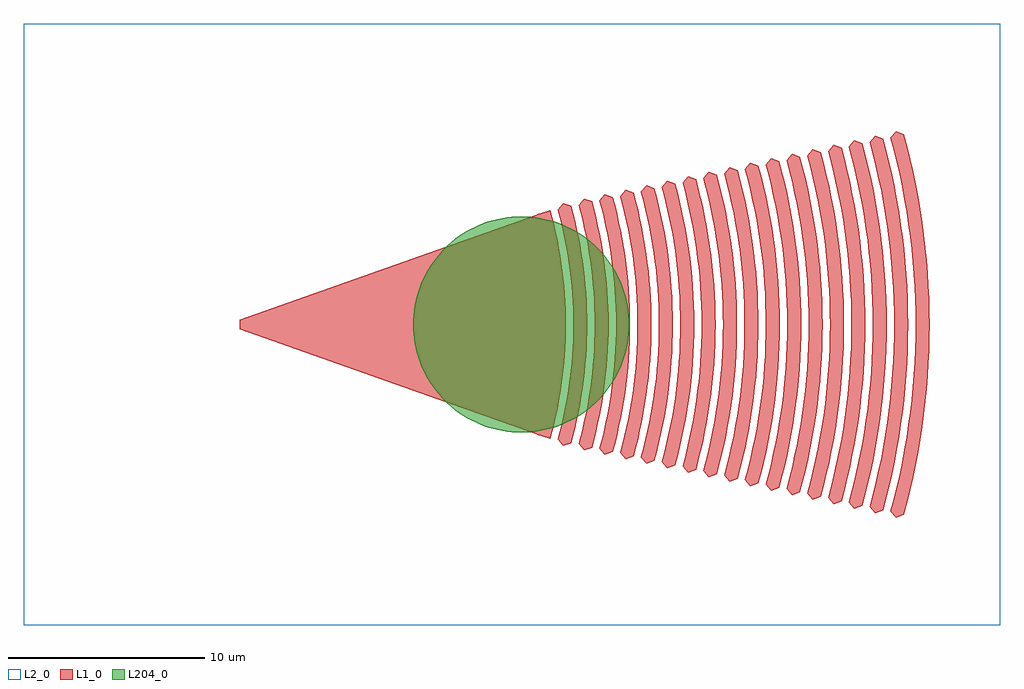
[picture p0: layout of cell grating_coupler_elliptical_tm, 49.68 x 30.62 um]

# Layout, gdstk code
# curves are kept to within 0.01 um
import gdstk
lib = gdstk.Library(unit=1e-6, precision=1e-09)
def R(c, l, rs):  # rectangles x0, y0, x1, y1
    for r in rs: c.add(gdstk.rectangle(r[:2], r[2:], *l))
def P(c, l, *ps):  # polygons
    for p in ps: c.add(gdstk.Polygon(p, *l))
L1_0 = (1, 0)
L2_0 = (2, 0)
L204_0 = (204, 0)

circle_layer204_0_radius = lib.new_cell('circle_layer204_0_radius5p5')
P(circle_layer204_0_radius, L204_0, [(5.5,0),(5.495,0.24),(5.453,0.718),(5.37,1.19),(5.245,1.654),(5.081,2.105),(4.879,2.54),(4.639,2.955),(4.505,3.155),(4.213,3.535),(3.889,3.889),(3.535,4.213),(3.155,4.505),(2.955,4.639),(2.54,4.879),(2.105,5.081),(1.654,5.245),(1.19,5.37),(0.718,5.453),(0.24,5.495),(0,5.5),(-0.24,5.495),(-0.718,5.453),(-1.19,5.37),(-1.654,5.245),(-2.105,5.081),(-2.54,4.879),(-2.955,4.639),(-3.155,4.505),(-3.535,4.213),(-3.889,3.889),(-4.213,3.535),(-4.505,3.155),(-4.639,2.955),(-4.879,2.54),(-5.081,2.105),(-5.245,1.654),(-5.37,1.19),(-5.453,0.718),(-5.495,0.24),(-5.5,0),(-5.495,-0.24),(-5.453,-0.718),(-5.37,-1.19),(-5.245,-1.654),(-5.081,-2.105),(-4.879,-2.54),(-4.639,-2.955),(-4.505,-3.155),(-4.213,-3.535),(-3.889,-3.889),(-3.535,-4.213),(-3.155,-4.505),(-2.955,-4.639),(-2.54,-4.879),(-2.105,-5.081),(-1.654,-5.245),(-1.19,-5.37),(-0.718,-5.453),(-0.24,-5.495),(0,-5.5),(0.24,-5.495),(0.718,-5.453),(1.19,-5.37),(1.654,-5.245),(2.105,-5.081),(2.54,-4.879),(2.955,-4.639),(3.155,-4.505),(3.535,-4.213),(3.889,-3.889),(4.213,-3.535),(4.505,-3.155),(4.639,-2.955),(4.879,-2.54),(5.081,-2.105),(5.245,-1.654),(5.37,-1.19),(5.453,-0.718),(5.495,-0.24)])

grating_coupler_elliptic = lib.new_cell('grating_coupler_elliptical_tm')
P(grating_coupler_elliptic, L1_0, [(27.455,-6.17),(27.173,-5.852),(27.456,-4.698),(27.61,-3.924),(27.736,-3.145),(27.834,-2.362),(27.904,-1.576),(27.946,-0.789),(27.96,0),(27.946,0.789),(27.904,1.576),(27.834,2.362),(27.736,3.145),(27.61,3.924),(27.456,4.698),(27.173,5.852),(27.455,6.17),(27.857,6.032),(28.057,5.246),(28.23,4.449),(28.436,3.245),(28.577,2.032),(28.635,1.22),(28.668,0),(28.635,-1.22),(28.577,-2.032),(28.436,-3.245),(28.23,-4.449),(28.057,-5.246),(27.857,-6.032)],
  [(28.513,-6.398),(28.231,-6.08),(28.435,-5.282),(28.609,-4.48),(28.754,-3.673),(28.871,-2.861),(28.958,-2.046),(29.017,-1.229),(29.049,0),(29.017,1.229),(28.958,2.046),(28.871,2.861),(28.754,3.673),(28.609,4.48),(28.435,5.282),(28.231,6.08),(28.513,6.398),(28.915,6.261),(29.123,5.444),(29.302,4.618),(29.516,3.368),(29.621,2.53),(29.723,1.267),(29.757,0),(29.723,-1.267),(29.621,-2.53),(29.516,-3.368),(29.302,-4.618),(29.123,-5.444),(28.915,-6.261)],
  [(29.571,-6.627),(29.29,-6.309),(29.501,-5.481),(29.681,-4.649),(29.832,-3.811),(29.953,-2.969),(30.078,-1.699),(30.123,-0.85),(30.138,0),(30.123,0.85),(30.078,1.699),(29.953,2.969),(29.832,3.811),(29.681,4.649),(29.501,5.481),(29.29,6.309),(29.571,6.627),(29.973,6.489),(30.189,5.643),(30.375,4.786),(30.596,3.491),(30.748,2.186),(30.83,0.875),(30.846,0),(30.83,-0.875),(30.748,-2.186),(30.596,-3.491),(30.375,-4.786),(30.189,-5.643),(29.973,-6.489)],
  [(30.629,-6.855),(30.348,-6.537),(30.566,-5.679),(30.754,-4.817),(30.977,-3.514),(31.086,-2.639),(31.165,-1.761),(31.212,-0.881),(31.227,0),(31.212,0.881),(31.165,1.761),(31.086,2.639),(30.977,3.514),(30.754,4.817),(30.566,5.679),(30.348,6.537),(30.629,6.855),(31.031,6.718),(31.255,5.841),(31.532,4.509),(31.737,3.165),(31.834,2.263),(31.898,1.359),(31.935,0),(31.898,-1.359),(31.834,-2.263),(31.737,-3.165),(31.532,-4.509),(31.255,-5.841),(31.031,-6.718)],
  [(31.688,-7.084),(31.406,-6.766),(31.632,-5.878),(31.826,-4.986),(31.988,-4.087),(32.118,-3.184),(32.215,-2.277),(32.28,-1.367),(32.316,0),(32.28,1.367),(32.215,2.277),(32.118,3.184),(31.988,4.087),(31.826,4.986),(31.632,5.878),(31.406,6.766),(31.688,7.084),(32.09,6.946),(32.321,6.04),(32.607,4.663),(32.757,3.737),(32.919,2.34),(32.986,1.405),(33.024,0),(33.007,-0.937),(32.919,-2.34),(32.757,-3.737),(32.607,-4.663),(32.321,-6.04),(32.09,-6.946)],
  [(32.746,-7.313),(32.464,-6.994),(32.698,-6.076),(32.899,-5.154),(33.066,-4.226),(33.2,-3.292),(33.3,-2.354),(33.368,-1.414),(33.405,0),(33.368,1.414),(33.3,2.354),(33.2,3.292),(33.066,4.226),(32.899,5.154),(32.698,6.076),(32.464,6.994),(32.746,7.313),(33.148,7.175),(33.386,6.239),(33.682,4.816),(33.837,3.86),(34.005,2.417),(34.074,1.451),(34.113,0),(34.074,-1.451),(34.005,-2.417),(33.837,-3.86),(33.682,-4.816),(33.386,-6.239),(33.148,-7.175)],
  [(33.804,-7.541),(33.523,-7.223),(33.764,-6.275),(33.971,-5.323),(34.144,-4.364),(34.282,-3.4),(34.425,-1.946),(34.477,-0.974),(34.494,0),(34.477,0.974),(34.425,1.946),(34.282,3.4),(34.144,4.364),(33.971,5.323),(33.764,6.275),(33.523,7.223),(33.804,7.541),(34.206,7.403),(34.563,5.95),(34.757,4.969),(34.984,3.488),(35.09,2.494),(35.184,0.999),(35.202,0),(35.184,-0.999),(35.09,-2.494),(34.984,-3.488),(34.757,-4.969),(34.563,-5.95),(34.206,-7.403)],
  [(34.863,-7.77),(34.581,-7.451),(34.83,-6.474),(35.043,-5.491),(35.222,-4.502),(35.364,-3.507),(35.512,-2.007),(35.566,-1.004),(35.583,0),(35.566,1.004),(35.512,2.007),(35.364,3.507),(35.222,4.502),(35.043,5.491),(34.83,6.474),(34.581,7.451),(34.863,7.77),(35.265,7.632),(35.632,6.133),(35.833,5.123),(36.066,3.595),(36.176,2.571),(36.272,1.03),(36.291,0),(36.272,-1.03),(36.176,-2.571),(36.066,-3.595),(35.833,-5.123),(35.632,-6.133),(35.265,-7.632)],
  [(35.921,-7.998),(35.639,-7.68),(35.896,-6.672),(36.116,-5.66),(36.378,-4.128),(36.507,-3.1),(36.599,-2.069),(36.654,-1.035),(36.672,0),(36.654,1.035),(36.599,2.069),(36.507,3.1),(36.378,4.128),(36.116,5.66),(35.896,6.672),(35.639,7.68),(35.921,7.998),(36.323,7.861),(36.584,6.835),(36.908,5.276),(37.148,3.703),(37.261,2.648),(37.361,1.06),(37.38,0),(37.361,-1.06),(37.261,-2.648),(37.148,-3.703),(36.908,-5.276),(36.584,-6.835),(36.323,-7.861)],
  [(36.979,-8.227),(36.698,-7.909),(37.08,-6.351),(37.287,-5.304),(37.458,-4.251),(37.591,-3.193),(37.685,-2.131),(37.742,-1.066),(37.761,0),(37.742,1.066),(37.685,2.131),(37.591,3.193),(37.458,4.251),(37.287,5.304),(37.08,6.351),(36.698,7.909),(36.979,8.227),(37.381,8.089),(37.771,6.501),(37.983,5.429),(38.158,4.351),(38.294,3.268),(38.347,2.725),(38.425,1.636),(38.469,0),(38.425,-1.636),(38.347,-2.725),(38.294,-3.268),(38.158,-4.351),(37.983,-5.429),(37.771,-6.501),(37.381,-8.089)],
  [(38.037,-8.455),(37.756,-8.137),(38.028,-7.07),(38.261,-5.997),(38.538,-4.374),(38.675,-3.285),(38.772,-2.192),(38.831,-1.097),(38.85,0),(38.831,1.097),(38.772,2.192),(38.675,3.285),(38.538,4.374),(38.261,5.997),(38.028,7.07),(37.756,8.137),(38.037,8.455),(38.439,8.318),(38.716,7.232),(39.059,5.583),(39.313,3.918),(39.433,2.802),(39.513,1.683),(39.558,0),(39.513,-1.683),(39.433,-2.802),(39.313,-3.918),(39.059,-5.583),(38.716,-7.232),(38.439,-8.318)],
  [(39.096,-8.684),(38.814,-8.366),(39.094,-7.268),(39.333,-6.165),(39.438,-5.611),(39.618,-4.497),(39.759,-3.377),(39.859,-2.254),(39.919,-1.128),(39.939,0),(39.919,1.128),(39.859,2.254),(39.759,3.377),(39.618,4.497),(39.438,5.611),(39.333,6.165),(39.094,7.268),(38.814,8.366),(39.096,8.684),(39.498,8.546),(39.782,7.431),(40.027,6.303),(40.134,5.736),(40.231,5.167),(40.395,4.026),(40.518,2.879),(40.6,1.729),(40.626,1.153),(40.647,0),(40.626,-1.153),(40.6,-1.729),(40.518,-2.879),(40.395,-4.026),(40.318,-4.597),(40.134,-5.736),(40.027,-6.303),(39.782,-7.431),(39.498,-8.546)],
  [(40.154,-8.912),(39.872,-8.594),(40.159,-7.467),(40.406,-6.334),(40.699,-4.62),(40.843,-3.47),(40.946,-2.315),(41.008,-1.158),(41.028,0),(41.008,1.158),(40.946,2.315),(40.843,3.47),(40.699,4.62),(40.406,6.334),(40.159,7.467),(39.872,8.594),(40.154,8.912),(40.556,8.775),(40.848,7.629),(41.099,6.471),(41.209,5.889),(41.398,4.72),(41.546,3.545),(41.604,2.956),(41.688,1.775),(41.714,1.184),(41.736,0),(41.714,-1.184),(41.688,-1.775),(41.604,-2.956),(41.546,-3.545),(41.398,-4.72),(41.209,-5.889),(41.099,-6.471),(40.848,-7.629),(40.556,-8.775)],
  [(41.212,-9.141),(40.931,-8.823),(41.357,-7.085),(41.589,-5.917),(41.779,-4.742),(41.927,-3.562),(42.033,-2.377),(42.096,-1.189),(42.117,0),(42.096,1.189),(42.033,2.377),(41.927,3.562),(41.779,4.742),(41.589,5.917),(41.357,7.085),(40.931,8.823),(41.212,9.141),(41.614,9.003),(41.769,8.418),(42.048,7.235),(42.284,6.043),(42.479,4.843),(42.56,4.241),(42.689,3.033),(42.776,1.821),(42.803,1.214),(42.825,0),(42.803,-1.214),(42.776,-1.821),(42.689,-3.033),(42.56,-4.241),(42.387,-5.444),(42.284,-6.043),(42.048,-7.235),(41.769,-8.418),(41.614,-9.003)],
  [(42.27,-9.369),(41.989,-9.051),(42.146,-8.457),(42.426,-7.268),(42.664,-6.071),(42.859,-4.865),(43.011,-3.654),(43.119,-2.439),(43.185,-1.22),(43.206,0),(43.185,1.22),(43.119,2.439),(43.011,3.654),(42.859,4.865),(42.664,6.071),(42.426,7.268),(42.146,8.457),(41.989,9.051),(42.27,9.369),(42.672,9.232),(42.831,8.632),(43.117,7.418),(43.36,6.196),(43.559,4.966),(43.714,3.73),(43.775,3.11),(43.864,1.867),(43.908,0.623),(43.914,0),(43.908,-0.623),(43.864,-1.867),(43.775,-3.11),(43.714,-3.73),(43.559,-4.966),(43.36,-6.196),(43.117,-7.418),(42.831,-8.632),(42.672,-9.232)],
  [(43.329,-9.598),(43.047,-9.28),(43.357,-8.063),(43.623,-6.839),(43.845,-5.607),(44.023,-4.368),(44.156,-3.124),(44.245,-1.876),(44.29,-0.626),(44.295,0),(44.29,0.626),(44.245,1.876),(44.156,3.124),(44.023,4.368),(43.845,5.607),(43.623,6.839),(43.357,8.063),(43.047,9.28),(43.329,9.598),(43.731,9.46),(43.893,8.846),(44.186,7.602),(44.435,6.349),(44.639,5.089),(44.798,3.822),(44.86,3.187),(44.912,2.551),(44.98,1.276),(45.003,0),(44.98,-1.276),(44.912,-2.551),(44.86,-3.187),(44.798,-3.822),(44.639,-5.089),(44.435,-6.349),(44.186,-7.602),(43.893,-8.846),(43.731,-9.46)],
  [(44.387,-9.826),(44.105,-9.508),(44.423,-8.261),(44.695,-7.007),(44.923,-5.745),(45.105,-4.476),(45.242,-3.201),(45.333,-1.922),(45.362,-1.282),(45.384,0),(45.362,1.282),(45.333,1.922),(45.242,3.201),(45.105,4.476),(44.923,5.745),(44.695,7.007),(44.423,8.261),(44.105,9.508),(44.387,9.826),(44.789,9.689),(45.111,8.424),(45.256,7.786),(45.51,6.503),(45.719,5.212),(45.882,3.914),(45.946,3.264),(46.039,1.96),(46.086,0.654),(46.092,0),(46.086,-0.654),(46.039,-1.96),(45.946,-3.264),(45.882,-3.914),(45.719,-5.212),(45.51,-6.503),(45.256,-7.786),(45.111,-8.424),(44.789,-9.689)],
  [(10.978,0.25),(10.978,-0.25),(26.457,-5.713),(26.647,-4.966),(26.811,-4.212),(26.916,-3.643),(27.032,-2.881),(27.121,-2.116),(27.183,-1.348),(27.217,-0.578),(27.225,0),(27.217,0.578),(27.183,1.348),(27.121,2.116),(27.032,2.881),(26.916,3.643),(26.811,4.212),(26.647,4.966),(26.457,5.713)],
  [(26.115,-5.623),(26.387,-4.515),(26.534,-3.771),(26.656,-3.022),(26.75,-2.27),(26.817,-1.515),(26.858,-0.758),(26.871,0),(26.858,0.758),(26.817,1.515),(26.75,2.27),(26.656,3.022),(26.534,3.771),(26.387,4.515),(26.115,5.623),(26.798,5.804),(27.078,4.665),(27.23,3.896),(27.355,3.122),(27.453,2.345),(27.523,1.565),(27.565,0.783),(27.579,0),(27.547,-1.174),(27.453,-2.345),(27.296,-3.51),(27.078,-4.665),(26.798,-5.804)])
R(grating_coupler_elliptic, L2_0, [(0,-15.312,49.68,15.312)])
grating_coupler_elliptic.add(gdstk.Reference(circle_layer204_0_radius, (25.312,0)))

lib.write_gds('grating_coupler_elliptical_tm.gds')
